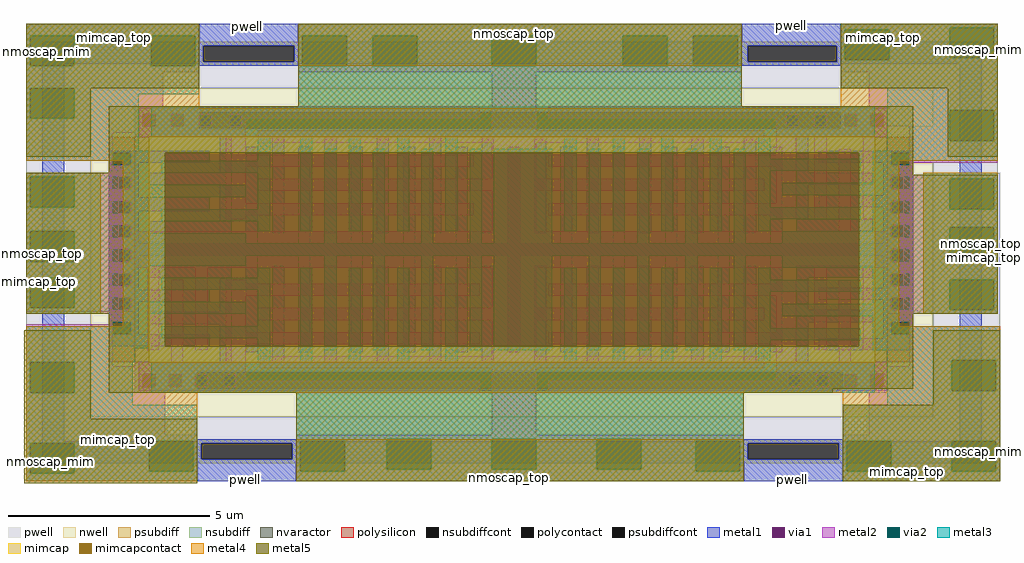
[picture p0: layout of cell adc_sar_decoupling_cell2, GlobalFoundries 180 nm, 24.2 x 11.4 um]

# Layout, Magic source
magic
tech gf180mcuD
magscale 1 10
<< nwell >>
rect -240 50 3936 240
rect -240 -130 3820 50
rect -240 -1390 3936 -130
<< pwell >>
rect -560 240 4260 560
rect -560 -1390 -240 240
rect 3940 50 4260 240
rect 3820 -130 4260 50
rect 3940 -180 4260 -130
rect 3940 -1390 4270 -180
rect -560 -1710 4270 -1390
<< psubdiff >>
rect 300 450 790 470
rect 300 370 320 450
rect 770 370 790 450
rect 300 350 790 370
rect 2990 450 3480 470
rect 2990 370 3020 450
rect 3460 370 3480 450
rect 2990 350 3480 370
rect 290 -1520 780 -1500
rect 290 -1600 310 -1520
rect 760 -1600 780 -1520
rect 290 -1620 780 -1600
rect 3000 -1520 3490 -1500
rect 3000 -1600 3020 -1520
rect 3470 -1600 3490 -1520
rect 3000 -1620 3490 -1600
<< nsubdiff >>
rect -20 120 3710 150
rect -20 40 300 120
rect 3480 40 3710 120
rect -20 0 3710 40
rect -20 -1170 3710 -1120
rect -20 -1250 290 -1170
rect 3489 -1250 3710 -1170
rect -20 -1270 3710 -1250
<< psubdiffcont >>
rect 320 370 770 450
rect 3020 370 3460 450
rect 310 -1600 760 -1520
rect 3020 -1600 3470 -1520
<< nsubdiffcont >>
rect 300 40 3480 120
rect 290 -1250 3489 -1170
<< nvaractor >>
rect -20 -1120 3710 0
<< polysilicon >>
rect -150 -80 -20 0
rect -150 -140 -130 -80
rect -40 -140 -20 -80
rect -150 -200 -20 -140
rect -150 -260 -130 -200
rect -40 -260 -20 -200
rect -150 -320 -20 -260
rect -150 -380 -130 -320
rect -40 -380 -20 -320
rect -150 -440 -20 -380
rect -150 -500 -130 -440
rect -40 -500 -20 -440
rect -150 -560 -20 -500
rect -150 -620 -130 -560
rect -40 -620 -20 -560
rect -150 -680 -20 -620
rect -150 -740 -130 -680
rect -40 -740 -20 -680
rect -150 -800 -20 -740
rect -150 -860 -130 -800
rect -40 -860 -20 -800
rect -150 -920 -20 -860
rect -150 -980 -130 -920
rect -40 -980 -20 -920
rect -150 -1120 -20 -980
rect 3710 -80 3840 0
rect 3710 -140 3730 -80
rect 3820 -140 3840 -80
rect 3710 -200 3840 -140
rect 3710 -260 3730 -200
rect 3820 -260 3840 -200
rect 3710 -320 3840 -260
rect 3710 -380 3730 -320
rect 3820 -380 3840 -320
rect 3710 -440 3840 -380
rect 3710 -500 3730 -440
rect 3820 -500 3840 -440
rect 3710 -560 3840 -500
rect 3710 -620 3730 -560
rect 3820 -620 3840 -560
rect 3710 -680 3840 -620
rect 3710 -740 3730 -680
rect 3820 -740 3840 -680
rect 3710 -800 3840 -740
rect 3710 -860 3730 -800
rect 3820 -860 3840 -800
rect 3710 -920 3840 -860
rect 3710 -980 3730 -920
rect 3820 -980 3840 -920
rect 3710 -1120 3840 -980
<< polycontact >>
rect -130 -140 -40 -80
rect -130 -260 -40 -200
rect -130 -380 -40 -320
rect -130 -500 -40 -440
rect -130 -620 -40 -560
rect -130 -740 -40 -680
rect -130 -860 -40 -800
rect -130 -980 -40 -920
rect 3730 -140 3820 -80
rect 3730 -260 3820 -200
rect 3730 -380 3820 -320
rect 3730 -500 3820 -440
rect 3730 -620 3820 -560
rect 3730 -740 3820 -680
rect 3730 -860 3820 -800
rect 3730 -980 3820 -920
<< metal1 >>
rect 300 470 790 560
rect 2990 470 3480 560
rect -480 450 4180 470
rect -480 370 320 450
rect 770 370 3020 450
rect 3460 370 4180 450
rect -480 360 4180 370
rect -480 -1510 -370 360
rect 300 350 790 360
rect 2990 350 3480 360
rect 0 120 3710 144
rect 0 110 300 120
rect 3480 110 3710 120
rect 0 50 20 110
rect 80 50 160 110
rect 220 50 300 110
rect 3480 50 3500 110
rect 3560 50 3630 110
rect 3690 50 3710 110
rect 0 40 300 50
rect 3480 40 3710 50
rect 0 0 3710 40
rect -150 -80 350 -70
rect -150 -140 -130 -80
rect -40 -130 350 -80
rect -40 -140 0 -130
rect -150 -200 0 -140
rect 400 -180 460 0
rect -150 -260 -130 -200
rect -40 -260 0 -200
rect 50 -240 460 -180
rect -150 -300 0 -260
rect -150 -320 350 -300
rect -150 -380 -130 -320
rect -40 -370 350 -320
rect -40 -380 0 -370
rect -150 -440 0 -380
rect 400 -420 460 -240
rect -150 -500 -130 -440
rect -40 -500 0 -440
rect 50 -480 460 -420
rect -150 -530 0 -500
rect 530 -530 590 -50
rect 660 -480 720 0
rect 790 -530 850 -50
rect 920 -480 980 0
rect 1050 -530 1110 -50
rect 1180 -480 1240 0
rect 1310 -530 1370 -50
rect 1440 -480 1500 0
rect 1570 -530 1630 -50
rect 1700 -480 1760 0
rect 1830 -530 1890 -50
rect 1960 -480 2020 0
rect 2090 -530 2150 -50
rect 2220 -480 2280 0
rect 2350 -530 2410 -50
rect 2480 -480 2540 0
rect 2610 -530 2670 -50
rect 2740 -480 2800 0
rect 2870 -530 2930 -50
rect 3000 -480 3060 0
rect 3130 -530 3190 -50
rect 3260 -180 3320 0
rect 3370 -80 3840 -70
rect 3370 -130 3730 -80
rect 3690 -140 3730 -130
rect 3820 -140 3840 -80
rect 3260 -240 3640 -180
rect 3690 -200 3840 -140
rect 3260 -410 3320 -240
rect 3690 -260 3730 -200
rect 3820 -260 3840 -200
rect 3690 -290 3840 -260
rect 3370 -320 3840 -290
rect 3370 -350 3730 -320
rect 3690 -380 3730 -350
rect 3820 -380 3840 -320
rect 3260 -470 3640 -410
rect 3690 -440 3840 -380
rect 3690 -500 3730 -440
rect 3820 -500 3840 -440
rect 3690 -530 3840 -500
rect -150 -560 3840 -530
rect -150 -620 -130 -560
rect -40 -590 3730 -560
rect -40 -620 0 -590
rect -150 -680 0 -620
rect -150 -740 -130 -680
rect -40 -740 0 -680
rect 50 -700 460 -640
rect -150 -760 0 -740
rect -150 -800 350 -760
rect -150 -860 -130 -800
rect -40 -820 350 -800
rect -40 -860 0 -820
rect -150 -920 0 -860
rect 400 -870 460 -700
rect -150 -980 -130 -920
rect -40 -980 0 -920
rect 50 -930 460 -870
rect -150 -1040 350 -980
rect 400 -1116 460 -930
rect 530 -1070 590 -590
rect 660 -1116 720 -640
rect 790 -1070 850 -590
rect 920 -1116 980 -640
rect 1050 -1070 1110 -590
rect 1180 -1116 1240 -640
rect 1310 -1070 1370 -590
rect 1440 -1116 1500 -640
rect 1570 -1070 1630 -590
rect 1700 -1116 1760 -640
rect 1830 -1070 1890 -590
rect 1960 -1116 2020 -640
rect 2090 -1070 2150 -590
rect 2220 -1116 2280 -640
rect 2350 -1070 2410 -590
rect 2480 -1116 2540 -640
rect 2610 -1070 2670 -590
rect 2740 -1116 2800 -640
rect 2870 -1070 2930 -590
rect 3000 -1116 3060 -640
rect 3130 -1070 3190 -590
rect 3690 -620 3730 -590
rect 3820 -620 3840 -560
rect 3260 -700 3640 -640
rect 3690 -680 3840 -620
rect 3260 -860 3320 -700
rect 3690 -740 3730 -680
rect 3820 -740 3840 -680
rect 3690 -750 3840 -740
rect 3370 -800 3840 -750
rect 3370 -810 3730 -800
rect 3690 -860 3730 -810
rect 3820 -860 3840 -800
rect 3260 -920 3640 -860
rect 3690 -920 3840 -860
rect 3260 -1116 3320 -920
rect 3690 -980 3730 -920
rect 3820 -980 3840 -920
rect 3690 -1000 3840 -980
rect 3370 -1060 3840 -1000
rect 0 -1170 3710 -1116
rect 0 -1180 290 -1170
rect 3489 -1180 3710 -1170
rect 0 -1240 20 -1180
rect 80 -1240 150 -1180
rect 210 -1240 280 -1180
rect 3489 -1240 3500 -1180
rect 3560 -1240 3630 -1180
rect 3690 -1240 3710 -1180
rect 0 -1250 290 -1240
rect 3489 -1250 3710 -1240
rect 0 -1260 3710 -1250
rect 290 -1510 780 -1500
rect 3000 -1510 3490 -1500
rect 4070 -1510 4180 360
rect -480 -1520 4180 -1510
rect -480 -1600 310 -1520
rect 760 -1600 3020 -1520
rect 3470 -1600 4180 -1520
rect -480 -1620 4180 -1600
rect 290 -1710 780 -1620
rect 3000 -1710 3490 -1620
<< via1 >>
rect 20 50 80 110
rect 160 50 220 110
rect 300 50 360 110
rect 450 50 510 110
rect 3210 50 3270 110
rect 3350 50 3410 110
rect 3500 50 3560 110
rect 3630 50 3690 110
rect -100 -260 -40 -200
rect -100 -380 -40 -320
rect -100 -500 -40 -440
rect 3730 -260 3790 -200
rect 3730 -380 3790 -320
rect 3730 -500 3790 -440
rect -100 -620 -40 -560
rect -100 -740 -40 -680
rect -100 -860 -40 -800
rect 3730 -620 3790 -560
rect 3730 -740 3790 -680
rect 3730 -860 3790 -800
rect 20 -1240 80 -1180
rect 150 -1240 210 -1180
rect 280 -1240 290 -1180
rect 290 -1240 340 -1180
rect 420 -1240 480 -1180
rect 3220 -1240 3280 -1180
rect 3360 -1240 3420 -1180
rect 3500 -1240 3560 -1180
rect 3630 -1240 3690 -1180
<< metal2 >>
rect -560 500 300 560
rect -560 350 -540 500
rect -320 350 60 500
rect 280 350 300 500
rect -560 320 300 350
rect 790 500 2990 560
rect 790 350 810 500
rect 1030 350 1160 500
rect 1380 350 1750 500
rect 1970 350 2400 500
rect 2620 350 2750 500
rect 2970 350 2990 500
rect 790 320 2990 350
rect 3480 540 4260 560
rect 3480 530 4020 540
rect 3480 380 3500 530
rect 3720 390 4020 530
rect 4240 390 4260 540
rect 3720 380 4260 390
rect 3480 320 4260 380
rect -560 240 120 320
rect -560 90 -540 240
rect -320 150 120 240
rect -320 110 1690 150
rect -320 90 20 110
rect -560 50 20 90
rect 80 50 160 110
rect 220 50 300 110
rect 360 50 450 110
rect 510 90 1690 110
rect 510 50 530 90
rect -560 20 530 50
rect 1750 30 1970 320
rect 3620 150 4260 320
rect 2030 130 4260 150
rect 2030 110 4020 130
rect 2030 90 3210 110
rect 3160 50 3210 90
rect 3270 50 3350 110
rect 3410 50 3500 110
rect 3560 50 3630 110
rect 3690 50 4020 110
rect -560 -120 -130 20
rect -20 0 530 20
rect 430 -90 530 0
rect 590 -30 3100 30
rect 3160 0 3710 50
rect 430 -150 1660 -90
rect -560 -200 -20 -180
rect -560 -350 -540 -200
rect -320 -260 -100 -200
rect -40 -260 -20 -200
rect -320 -320 -20 -260
rect -320 -350 -100 -320
rect -560 -380 -100 -350
rect -40 -380 -20 -320
rect -560 -440 -20 -380
rect 430 -330 530 -150
rect 1750 -210 1970 -30
rect 3160 -90 3260 0
rect 2030 -150 3260 -90
rect 590 -270 3100 -210
rect 430 -390 1660 -330
rect 430 -410 530 -390
rect -560 -470 -100 -440
rect -560 -620 -540 -470
rect -320 -500 -100 -470
rect -40 -470 -20 -440
rect 1750 -470 1970 -270
rect 3160 -330 3260 -150
rect 2030 -390 3260 -330
rect 3160 -410 3260 -390
rect 3350 -410 3410 0
rect 3470 -470 3530 -60
rect 3590 -410 3650 0
rect 3820 -20 4020 50
rect 4240 -20 4260 130
rect 3820 -130 4260 -20
rect 3710 -200 4260 -190
rect 3710 -260 3730 -200
rect 3790 -210 4260 -200
rect 3790 -260 4020 -210
rect 3710 -320 4020 -260
rect 3710 -380 3730 -320
rect 3790 -360 4020 -320
rect 4240 -360 4260 -210
rect 3790 -380 4260 -360
rect 3710 -440 4260 -380
rect 3710 -470 3730 -440
rect -40 -500 3730 -470
rect 3790 -450 4260 -440
rect 3790 -500 4020 -450
rect -320 -560 4020 -500
rect -320 -620 -100 -560
rect -40 -620 3730 -560
rect 3790 -600 4020 -560
rect 4240 -600 4260 -450
rect 3790 -620 4260 -600
rect -560 -650 4260 -620
rect -560 -680 -20 -650
rect -560 -700 -100 -680
rect -560 -850 -540 -700
rect -320 -740 -100 -700
rect -40 -740 -20 -680
rect -320 -800 -20 -740
rect -320 -850 -100 -800
rect -560 -860 -100 -850
rect -40 -860 -20 -800
rect -560 -870 -20 -860
rect -560 -1120 -130 -930
rect 40 -1060 100 -650
rect 160 -1120 220 -710
rect 280 -1060 340 -650
rect 430 -730 530 -710
rect 430 -790 1690 -730
rect 430 -970 530 -790
rect 1750 -850 1970 -650
rect 3160 -730 3260 -710
rect 2030 -790 3260 -730
rect 590 -910 3100 -850
rect 430 -1030 1690 -970
rect 430 -1120 530 -1030
rect 1750 -1090 1970 -910
rect 3160 -970 3260 -790
rect 2030 -1030 3260 -970
rect -560 -1270 -540 -1120
rect -320 -1140 -130 -1120
rect -20 -1140 530 -1120
rect -320 -1180 530 -1140
rect 600 -1150 3100 -1090
rect 3160 -1120 3260 -1030
rect 3350 -1060 3410 -650
rect 3470 -1120 3530 -710
rect 3590 -1060 3650 -650
rect 3710 -680 4260 -650
rect 3710 -740 3730 -680
rect 3790 -710 4260 -680
rect 3790 -740 4020 -710
rect 3710 -800 4020 -740
rect 3710 -860 3730 -800
rect 3790 -860 4020 -800
rect 4240 -860 4260 -710
rect 3710 -880 4260 -860
rect 3820 -1110 4270 -940
rect 3160 -1140 3710 -1120
rect 3820 -1140 4030 -1110
rect -320 -1240 20 -1180
rect 80 -1240 150 -1180
rect 210 -1240 280 -1180
rect 340 -1240 420 -1180
rect 480 -1210 530 -1180
rect 480 -1240 1690 -1210
rect -320 -1270 1690 -1240
rect -560 -1480 130 -1270
rect 1750 -1480 1970 -1150
rect 3160 -1180 4030 -1140
rect 3160 -1210 3220 -1180
rect 2030 -1240 3220 -1210
rect 3280 -1240 3360 -1180
rect 3420 -1240 3500 -1180
rect 3560 -1240 3630 -1180
rect 3690 -1240 4030 -1180
rect 2030 -1260 4030 -1240
rect 4250 -1260 4270 -1110
rect 2030 -1270 4270 -1260
rect 3620 -1480 4270 -1270
rect -560 -1510 290 -1480
rect -560 -1520 50 -1510
rect -560 -1670 -540 -1520
rect -320 -1660 50 -1520
rect 270 -1660 290 -1510
rect -320 -1670 290 -1660
rect -560 -1710 290 -1670
rect 780 -1500 3000 -1480
rect 780 -1510 1230 -1500
rect 780 -1660 800 -1510
rect 1020 -1650 1230 -1510
rect 1450 -1650 1750 -1500
rect 1970 -1650 2270 -1500
rect 2490 -1510 3000 -1500
rect 2490 -1650 2760 -1510
rect 1020 -1660 2760 -1650
rect 2980 -1660 3000 -1510
rect 780 -1710 3000 -1660
rect 3490 -1510 4270 -1480
rect 3490 -1660 3510 -1510
rect 3730 -1660 4030 -1510
rect 4250 -1660 4270 -1510
rect 3490 -1710 4270 -1660
<< via2 >>
rect -540 350 -320 500
rect 60 350 280 500
rect 810 350 1030 500
rect 1160 350 1380 500
rect 1750 350 1970 500
rect 2400 350 2620 500
rect 2750 350 2970 500
rect 3500 380 3720 530
rect 4020 390 4240 540
rect -540 90 -320 240
rect -540 -350 -320 -200
rect -540 -620 -320 -470
rect 4020 -20 4240 130
rect 4020 -360 4240 -210
rect 4020 -600 4240 -450
rect -540 -850 -320 -700
rect -540 -1270 -320 -1120
rect 4020 -860 4240 -710
rect 4030 -1260 4250 -1110
rect -540 -1670 -320 -1520
rect 50 -1660 270 -1510
rect 800 -1660 1020 -1510
rect 1230 -1650 1450 -1500
rect 1750 -1650 1970 -1500
rect 2270 -1650 2490 -1500
rect 2760 -1660 2980 -1510
rect 3510 -1660 3730 -1510
rect 4030 -1660 4250 -1510
<< mimcap >>
rect 50 -80 3650 0
rect 50 -1040 130 -80
rect 3570 -1040 3650 -80
rect 50 -1120 3650 -1040
<< mimcapcontact >>
rect 130 -1040 3570 -80
<< metal3 >>
rect -560 500 300 560
rect -560 350 -540 500
rect -320 350 60 500
rect 280 350 300 500
rect -560 240 300 350
rect -560 90 -540 240
rect -320 210 300 240
rect 790 500 2990 560
rect 790 350 810 500
rect 1030 350 1160 500
rect 1380 350 1750 500
rect 1970 350 2400 500
rect 2620 350 2750 500
rect 2970 350 2990 500
rect -320 90 0 210
rect 790 150 2990 350
rect 3480 540 4260 560
rect 3480 530 4020 540
rect 3480 380 3500 530
rect 3720 390 4020 530
rect 4240 390 4260 540
rect 3720 380 4260 390
rect 3480 240 4260 380
rect -560 -70 0 90
rect 60 0 3650 150
rect 3710 130 4260 240
rect -560 -120 50 -70
rect 590 -120 650 0
rect -560 -200 -190 -180
rect -560 -350 -540 -200
rect -320 -350 -190 -200
rect -560 -470 -190 -350
rect -560 -620 -540 -470
rect -320 -620 -190 -470
rect -560 -700 -190 -620
rect -560 -850 -540 -700
rect -320 -850 -190 -700
rect -560 -880 -190 -850
rect -80 -240 50 -120
rect 110 -180 650 -120
rect -80 -300 530 -240
rect -80 -480 50 -300
rect 590 -360 650 -180
rect 110 -420 650 -360
rect 590 -470 650 -420
rect 800 -470 860 0
rect -80 -530 530 -480
rect 920 -530 980 -60
rect 1040 -470 1100 0
rect 1160 -530 1220 -60
rect 1280 -470 1340 0
rect 1400 -530 1460 -60
rect 1520 -470 1580 0
rect 1640 -530 1700 -60
rect 1760 -530 2050 -60
rect 2110 -470 2170 0
rect 2230 -530 2290 -60
rect 2350 -470 2410 0
rect 2470 -530 2530 -60
rect 2590 -470 2650 0
rect 2710 -530 2770 -60
rect 2830 -470 2890 0
rect 2950 -530 3010 -60
rect 3070 -110 3130 0
rect 3710 -20 4020 130
rect 4240 -20 4260 130
rect 3710 -70 4260 -20
rect 3070 -170 3580 -110
rect 3640 -120 4260 -70
rect 3070 -350 3130 -170
rect 3640 -230 3770 -120
rect 3190 -290 3770 -230
rect 3070 -410 3580 -350
rect 3070 -470 3130 -410
rect 3640 -470 3770 -290
rect 3190 -530 3770 -470
rect -80 -590 3770 -530
rect -80 -640 530 -590
rect -80 -820 50 -640
rect 590 -700 650 -650
rect 110 -760 650 -700
rect -80 -880 530 -820
rect -80 -940 50 -880
rect 590 -940 650 -760
rect -560 -1050 50 -940
rect 110 -1000 650 -940
rect -560 -1120 -20 -1050
rect 590 -1120 650 -1000
rect 800 -1120 860 -650
rect 920 -1060 980 -590
rect 1040 -1120 1100 -650
rect 1160 -1060 1220 -590
rect 1280 -1120 1340 -650
rect 1400 -1060 1460 -590
rect 1520 -1120 1580 -650
rect 1640 -1060 1700 -590
rect 1760 -1060 2050 -590
rect 2110 -1120 2170 -650
rect 2230 -1060 2290 -590
rect 2350 -1120 2410 -650
rect 2470 -1060 2530 -590
rect 2590 -1120 2650 -650
rect 2710 -1060 2770 -590
rect 2830 -1120 2890 -650
rect 2950 -1060 3010 -590
rect 3190 -650 3770 -590
rect 3070 -710 3130 -650
rect 3070 -770 3580 -710
rect 3070 -950 3130 -770
rect 3640 -830 3770 -650
rect 3190 -890 3770 -830
rect 3890 -210 4260 -180
rect 3890 -360 4020 -210
rect 4240 -360 4260 -210
rect 3890 -450 4260 -360
rect 3890 -600 4020 -450
rect 4240 -600 4260 -450
rect 3890 -710 4260 -600
rect 3890 -860 4020 -710
rect 4240 -860 4260 -710
rect 3890 -880 4260 -860
rect 3640 -940 3770 -890
rect 3070 -1010 3580 -950
rect 3070 -1120 3130 -1010
rect 3640 -1060 4270 -940
rect 3710 -1110 4270 -1060
rect -560 -1270 -540 -1120
rect -320 -1270 -30 -1120
rect 60 -1270 3650 -1120
rect 3710 -1260 4030 -1110
rect 4250 -1260 4270 -1110
rect -560 -1330 -30 -1270
rect -560 -1510 290 -1330
rect -560 -1520 50 -1510
rect -560 -1670 -540 -1520
rect -320 -1660 50 -1520
rect 270 -1660 290 -1510
rect -320 -1670 290 -1660
rect -560 -1710 290 -1670
rect 780 -1500 3000 -1270
rect 3710 -1330 4270 -1260
rect 780 -1510 1230 -1500
rect 780 -1660 800 -1510
rect 1020 -1650 1230 -1510
rect 1450 -1650 1750 -1500
rect 1970 -1650 2270 -1500
rect 2490 -1510 3000 -1500
rect 2490 -1650 2760 -1510
rect 1020 -1660 2760 -1650
rect 2980 -1660 3000 -1510
rect 780 -1710 3000 -1660
rect 3490 -1510 4270 -1330
rect 3490 -1660 3510 -1510
rect 3730 -1660 4030 -1510
rect 4250 -1660 4270 -1510
rect 3490 -1710 4270 -1660
<< metal4 >>
rect -560 140 300 560
rect 790 350 2990 560
rect 3480 140 4260 560
rect -560 0 4260 140
rect -560 -120 50 0
rect -560 -880 -190 -180
rect -80 -940 50 -120
rect -560 -1120 50 -940
rect 3650 -120 4260 0
rect 3650 -940 3770 -120
rect 3890 -880 4260 -180
rect 3650 -1120 4270 -940
rect -560 -1270 4270 -1120
rect -560 -1710 290 -1270
rect 780 -1710 3000 -1500
rect 3490 -1710 4270 -1270
<< metal5 >>
rect -560 240 300 560
rect -560 -100 -240 240
rect 790 150 2990 560
rect 3480 240 4260 560
rect -150 -80 3840 150
rect -150 -180 130 -80
rect -560 -880 130 -180
rect -570 -1400 -240 -960
rect -150 -1040 130 -880
rect 3570 -190 3840 -80
rect 4010 -100 4260 240
rect 3570 -880 4260 -190
rect 3570 -1040 3840 -880
rect -150 -1250 3840 -1040
rect -150 -1270 3440 -1250
rect -570 -1720 290 -1400
rect 780 -1710 3000 -1270
rect 3940 -1330 4270 -960
rect 3490 -1710 4270 -1330
<< labels >>
flabel metal1 538 542 538 550 5 FreeSans 320 0 0 0 pwell
port 1 s
flabel metal1 3236 545 3236 553 5 FreeSans 320 0 0 0 pwell
port 2 s
flabel metal1 530 -1700 530 -1700 1 FreeSans 320 0 0 0 pwell
port 3 n
flabel metal1 3240 -1700 3240 -1700 1 FreeSans 320 0 0 0 pwell
port 4 n
flabel metal2 1840 -1690 1840 -1690 1 FreeSans 320 0 0 0 nmoscap_top
port 5 n
flabel metal2 1860 510 1860 510 5 FreeSans 320 0 0 0 nmoscap_top
port 6 s
flabel metal2 4240 -530 4240 -530 7 FreeSans 320 0 0 0 nmoscap_top
port 7 w
flabel metal2 -540 -580 -540 -580 3 FreeSans 320 0 0 0 nmoscap_top
port 8 e
flabel via2 -500 420 -500 420 3 FreeSans 320 0 0 0 nmoscap_mim
port 9 e
flabel via2 -440 -1610 -440 -1610 3 FreeSans 320 0 0 0 nmoscap_mim
port 10 e
flabel via2 4200 430 4200 430 7 FreeSans 320 0 0 0 nmoscap_mim
port 11 w
flabel via2 4220 -1560 4220 -1560 7 FreeSans 320 0 0 0 nmoscap_mim
port 12 w
flabel metal4 1840 -1630 1840 -1630 1 FreeSans 320 0 0 0 mimcap_top
port 13 n
flabel metal4 2220 500 2220 500 5 FreeSans 320 0 0 0 mimcap_top
port 14 s
flabel metal4 4230 -600 4230 -600 7 FreeSans 320 0 0 0 mimcap_top
port 15 w
flabel metal4 -500 -720 -500 -720 3 FreeSans 320 0 0 0 mimcap_top
port 16 e
flabel metal4 -120 490 -120 490 5 FreeSans 320 0 0 0 mimcap_top
port 17 s
flabel metal4 -100 -1500 -100 -1500 5 FreeSans 320 0 0 0 mimcap_top
port 18 s
flabel metal4 3810 -1660 3810 -1660 1 FreeSans 320 0 0 0 mimcap_top
port 19 n
flabel metal4 3690 490 3690 490 5 FreeSans 320 0 0 0 mimcap_top
port 20 s
<< end >>
